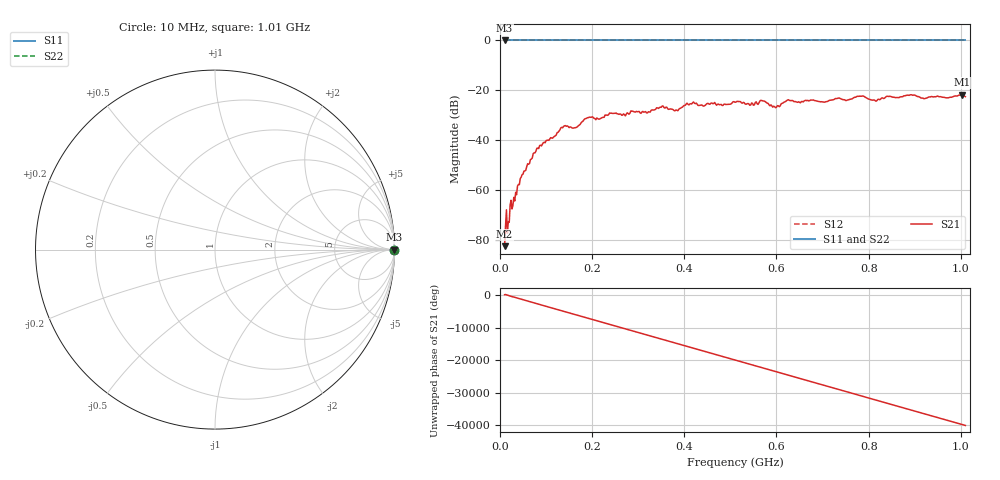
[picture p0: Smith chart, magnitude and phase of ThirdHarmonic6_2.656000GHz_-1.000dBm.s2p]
! 8/17/2025 6:05:41 AM
! C:\ANRITSUVNA\TEMP\TEMP.S2P
! CHANNEL.1
! TR.MEASUREMENT
! RAW.DATA
! RF.CORRECTION.OFF
! AVERAGING.OFF
! IF.BANDWIDTH: 5KHZ
! SWEEPTYPE:  FREQ.SWEEP(Linear)
! Reference Plane Port Info
! PORT:  PORT1  PORT2
! DISTANCE:  0  m  0  m
! TIME:  0  s  0  s
! PHASE.OFFSET:  0  deg.  0  deg.
! LOSS:  0  dB  0  dB
! REF.LOSS:  0  dB  0  dB
! REF.FREQ:  0  Hz  0  Hz
! Power Info
! POWER:  -20  dBm  -20  dBm
! EFF.POWER:  -20  dBm  -20  dBm
! SOURCE.ATTEN:  0  dB  0  dB
! TEST.ATTEN:  0  dB  0  dB
# GHZ S RI R 50.0
! FREQ.GHZ  S11RE  S11IM  S21RE  S21IM  S12RE  S12IM  S22RE  S22IM
!; PortSelection: Port_12
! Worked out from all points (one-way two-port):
!   501 points, 10 MHz to 1.01 GHz, reference 50 ohm
!   highest |S21| = -21.72 dB at 1.002 GHz (marker M1); lowest = -82.7 dB at 10 MHz (marker M2)
!   lowest |S11| = 0.0 dB at 10 MHz (marker M3)
!   |S11| at or under -10 dB: nowhere
!   |S22| runs from 0.0 to 0.0 dB; largest |S21 - S12| = 1.1
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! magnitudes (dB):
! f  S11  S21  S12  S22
! 10 MHz  0.0  -82.7  0.0  0.0
! 42 MHz  0.0  -57.9  0.0  0.0
! 76 MHz  0.0  -45.1  0.0  0.0
! 136 MHz  0.0  -35.1  0.0  0.0
! 162 MHz  0.0  -35.1  0.0  0.0
! 178 MHz  0.0  -32.7  0.0  0.0
! 242 MHz  0.0  -29.2  0.0  0.0
! 322 MHz  0.0  -28.6  0.0  0.0
! 344 MHz  0.0  -27.3  0.0  0.0
! 382 MHz  0.0  -27.9  0.0  0.0
! 418 MHz  0.0  -25.0  0.0  0.0
! 510 MHz  0.0  -24.8  0.0  0.0
! 546 MHz  0.0  -25.1  0.0  0.0
! 570 MHz  0.0  -24.3  0.0  0.0
! 596 MHz  0.0  -26.6  0.0  0.0
! 626 MHz  0.0  -23.8  0.0  0.0
! 678 MHz  0.0  -24.0  0.0  0.0
! 784 MHz  0.0  -22.4  0.0  0.0
! 814 MHz  0.0  -24.1  0.0  0.0
! 844 MHz  0.0  -22.5  0.0  0.0
! 1.002 GHz  0.0  -21.7  0.0  0.0
! 1.01 GHz  0.0  -22.6  0.0  0.0
